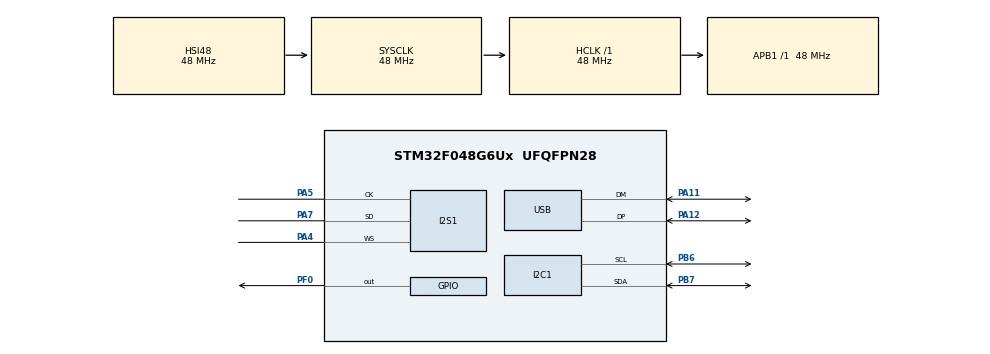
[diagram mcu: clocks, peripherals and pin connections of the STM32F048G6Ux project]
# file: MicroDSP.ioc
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Dma.Request0=SPI1_TX
Dma.SPI1_TX.0.Direction=DMA_MEMORY_TO_PERIPH
Dma.SPI1_TX.0.Instance=DMA1_Channel3
Dma.SPI1_TX.0.MemDataAlignment=DMA_MDATAALIGN_WORD
Dma.SPI1_TX.0.MemInc=DMA_MINC_ENABLE
Dma.SPI1_TX.0.Mode=DMA_CIRCULAR
Dma.SPI1_TX.0.PeriphDataAlignment=DMA_PDATAALIGN_WORD
Dma.SPI1_TX.0.PeriphInc=DMA_PINC_DISABLE
Dma.SPI1_TX.0.Priority=DMA_PRIORITY_VERY_HIGH
I2C1.Timing=0x00201D2B
I2S1.AudioFreq=I2S_AUDIOFREQ_48K
I2S1.DataFormat=I2S_DATAFORMAT_32B
I2S1.ErrorAudioFreq=-2.34 %
I2S1.FullDuplexMode=I2S_FULLDUPLEXMODE_DISABLE
I2S1.Instance=SPI$Index
I2S1.RealAudioFreq=46.875 KHz
I2S1.VirtualMode=I2S_MODE_MASTER
Mcu.Family=STM32F0
Mcu.Name=STM32F048G6Ux
Mcu.Package=UFQFPN28
NVIC.DMA1_Channel2_3_IRQn=true\:0\:0\:false\:false\:true\:false\:true\:true
NVIC.USB_IRQn=true\:0\:0\:false\:false\:true\:false\:true\:true
PA11.Mode=Device
PA11.Signal=USB_DM
PA12.Mode=Device
PA12.Signal=USB_DP
PA4.Mode=Half_Duplex_Master
PA4.Signal=I2S1_WS
PA5.Mode=Half_Duplex_Master
PA5.Signal=I2S1_CK
PA6.Signal=I2S1_MCK
PA7.Mode=Half_Duplex_Master
PA7.Signal=I2S1_SD
PB6.Mode=I2C
PB6.Signal=I2C1_SCL
PB7.Mode=I2C
PB7.Signal=I2C1_SDA
PF0-OSC_IN.Signal=GPIO_Output
ProjectManager.HeapSize=0x000
ProjectManager.StackSize=0x200
ProjectManager.TargetToolchain=CMake
RCC.AHBFreq_Value=48000000
RCC.APB1Freq_Value=48000000
RCC.APB1TimFreq_Value=48000000
RCC.HCLKFreq_Value=48000000
RCC.SYSCLKFreq_VALUE=48000000
RCC.SYSCLKSource=RCC_SYSCLKSOURCE_HSI48
USB_DEVICE.CLASS_NAME_FS=AUDIO
USB_DEVICE.USBD_AUDIO_FREQ=48000
USB_DEVICE.USBD_MAX_STR_DESC_SIZ=128
USB_DEVICE.VirtualMode=Audio
USB_DEVICE.VirtualModeFS=Audio_FS
VP_SYS_VS_PINREMAP.Mode=PINREMAP
VP_USB_DEVICE_VS_USB_DEVICE_AUDIO_FS.Mode=AUDIO_FS
board=custom

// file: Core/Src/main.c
/* USER CODE BEGIN Header */
/**
  ******************************************************************************
  * @file           : main.c
  * @brief          : Main program body
  ******************************************************************************
  * @attention
  *
  * Copyright (c) 2026 STMicroelectronics.
  * All rights reserved.
  *
  * This software is licensed under terms that can be found in the LICENSE file
  * in the root directory of this software component.
  * If no LICENSE file comes with this software, it is provided AS-IS.
  *
  ******************************************************************************
  */
/* USER CODE END Header */
#include "main.h"
#include "dma.h"
#include "i2c.h"
#include "i2s.h"
#include "usb_device.h"
#include "gpio.h"
#include "CS43131.h"
#include "DSP.h"

/* USER CODE BEGIN PV */
// store 2 biquad filters and states for left and right channels (coefficients + state)

//store 3 biquad filters to be sent to the CS43131 (no states/seperate)
// store 2 biquad coefficients and states for left and right channels
static const BiquadCoefficients filtersL_coeffs[2] = {
  {0x20000000, 0x40000000, 0x20000000, 0x00000000, 0x00000000}, // Biquad coeffs 1
  {0x20000000, 0x40000000, 0x20000000, 0x00000000, 0x00000000}  // Biquad coeffs 2
};

static BiquadFilter filtersL[2] = {
  { &filtersL_coeffs[0], {0,0} },
  { &filtersL_coeffs[1], {0,0} }
};

static const BiquadCoefficients filtersR_coeffs[2] = {
  {0x20000000, 0x40000000, 0x20000000, 0x00000000, 0x00000000}, // Biquad coeffs 1
  {0x20000000, 0x40000000, 0x20000000, 0x00000000, 0x00000000}  // Biquad coeffs 2
};

static BiquadFilter filtersR[2] = {
  { &filtersR_coeffs[0], {0,0} },
  { &filtersR_coeffs[1], {0,0} }
};

// store 3 biquad coefficients to be sent to the CS43131 (no states/separate)
static const BiquadCoefficients cs43131_filters[3] = {
  {0x20000000, 0x40000000, 0x20000000, 0x00000000, 0x00000000}, // Biquad coeffs 1
  {0x20000000, 0x40000000, 0x20000000, 0x00000000, 0x00000000}, // Biquad coeffs 2
  {0x20000000, 0x40000000, 0x20000000, 0x00000000, 0x00000000} // Biquad coeffs 3
};

/* USER CODE END PV */

void SystemClock_Config(void);

int main(void)
{

  /* MCU Configuration--------------------------------------------------------*/

  /* Reset of all peripherals, Initializes the Flash interface and the Systick. */
  HAL_Init();

  /* Configure the system clock */
  SystemClock_Config();

  /* Initialize all configured peripherals */
  MX_GPIO_Init();
  MX_DMA_Init();
  MX_I2S1_Init();
  MX_USB_DEVICE_Init();
  MX_I2C1_Init();
  /* USER CODE BEGIN 2 */

  CS43131_Init();

  int32_t result = biquad_process(&filtersL[0], 2);
  result = biquad_process(&filtersL[1], result);
  int32_t resultR = biquad_process(&filtersR[0], 2);
  resultR = biquad_process(&filtersR[1], resultR);

  CS43131_setFilterCoefficients(1, &cs43131_filters[0]);
  CS43131_setFilterCoefficients(2, &cs43131_filters[1]);
  CS43131_setFilterCoefficients(3, &cs43131_filters[2]);
  /*
  CS43131:
  ASP_SPRATE = ASP_SPRATE_48KHZ // set sample rate to 48kHz
  ASP_SPSIZE = ASP_SPSIZE_16BIT // set sample size to 16 bits
  PDN_CTRL &= ~(PDN_ASP | PDN_XTAL | PDN_HP) // power up ASP, XTAL, and HP

  */
  /* USER CODE END 2 */

  /* Infinite loop */
  while (1)
  {

  }
}

void SystemClock_Config(void)
{
  RCC_OscInitTypeDef RCC_OscInitStruct = {0};
  RCC_ClkInitTypeDef RCC_ClkInitStruct = {0};
  RCC_PeriphCLKInitTypeDef PeriphClkInit = {0};

  /** Initializes the RCC Oscillators according to the specified parameters
  * in the RCC_OscInitTypeDef structure.
  */
  RCC_OscInitStruct.OscillatorType = RCC_OSCILLATORTYPE_HSI|RCC_OSCILLATORTYPE_HSI48;
  RCC_OscInitStruct.HSIState = RCC_HSI_ON;
  RCC_OscInitStruct.HSI48State = RCC_HSI48_ON;
  RCC_OscInitStruct.HSICalibrationValue = RCC_HSICALIBRATION_DEFAULT;
  RCC_OscInitStruct.PLL.PLLState = RCC_PLL_NONE;
  if (HAL_RCC_OscConfig(&RCC_OscInitStruct) != HAL_OK)
  {
    Error_Handler();
  }

  /** Initializes the CPU, AHB and APB buses clocks
  */
  RCC_ClkInitStruct.ClockType = RCC_CLOCKTYPE_HCLK|RCC_CLOCKTYPE_SYSCLK
                              |RCC_CLOCKTYPE_PCLK1;
  RCC_ClkInitStruct.SYSCLKSource = RCC_SYSCLKSOURCE_HSI48;
  RCC_ClkInitStruct.AHBCLKDivider = RCC_SYSCLK_DIV1;
  RCC_ClkInitStruct.APB1CLKDivider = RCC_HCLK_DIV1;

  if (HAL_RCC_ClockConfig(&RCC_ClkInitStruct, FLASH_LATENCY_1) != HAL_OK)
  {
    Error_Handler();
  }
  PeriphClkInit.PeriphClockSelection = RCC_PERIPHCLK_USB|RCC_PERIPHCLK_I2C1;
  PeriphClkInit.I2c1ClockSelection = RCC_I2C1CLKSOURCE_HSI;
  PeriphClkInit.UsbClockSelection = RCC_USBCLKSOURCE_HSI48;

  if (HAL_RCCEx_PeriphCLKConfig(&PeriphClkInit) != HAL_OK)
  {
    Error_Handler();
  }
}

void Error_Handler(void)
{
  __disable_irq();
  while (1)
  {
  }
}
